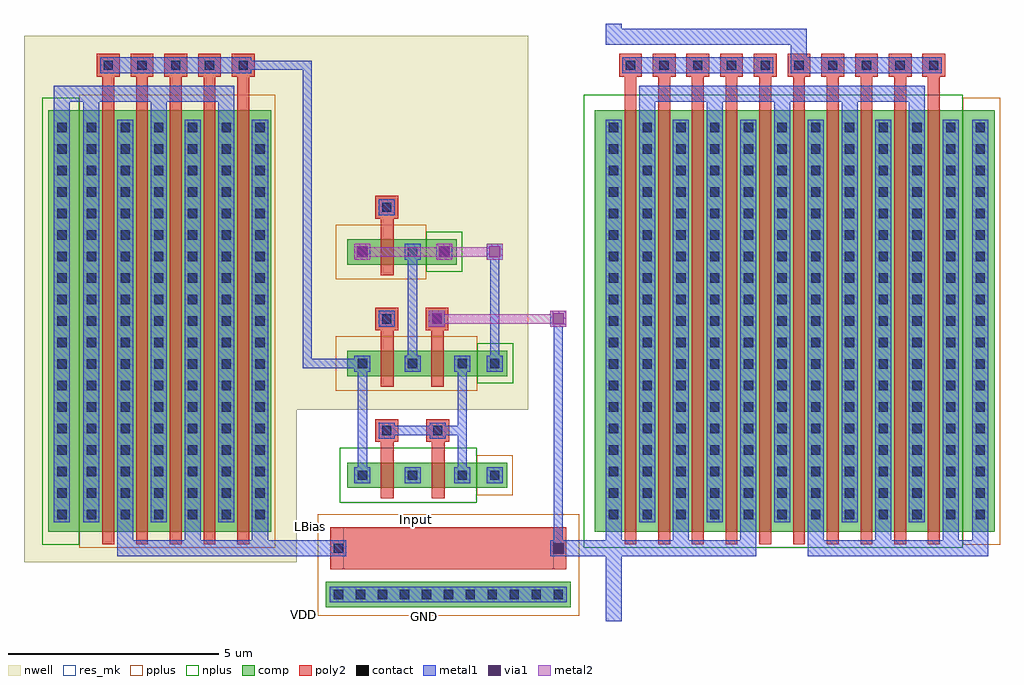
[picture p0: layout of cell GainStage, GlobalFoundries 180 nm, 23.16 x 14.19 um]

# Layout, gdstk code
import gdstk
lib = gdstk.Library(unit=1e-6, precision=1e-09)
def R(c, l, rs):  # rectangles x0, y0, x1, y1
    for r in rs: c.add(gdstk.rectangle(r[:2], r[2:], *l))
def A(c, l, x, y, w, h, nx, ny, dx, dy):  # array of equal rectangles
    R(c, l, [(x+i*dx, y+j*dy, x+i*dx+w, y+j*dy+h) for i in range(nx) for j in range(ny)])
nwell = (21, 0)
comp = (22, 0)
poly2 = (30, 0)
pplus = (31, 0)
nplus = (32, 0)
contact = (33, 0)
metal1 = (34, 0)
via1 = (35, 0)
metal2 = (36, 0)
res_mk = (110, 5)

gainstage = lib.new_cell('GainStage')
R(gainstage, nwell, [(-9.22,1.27,-2.75,13.77), (-2.75,4.89,-2.25,10.39), (-2.25,4.89,2.75,10.39), (-2.75,10.39,2.75,13.77)])
R(gainstage, comp, [(-2.06,0.21,3.76,0.81), (-8.65,2,-3.35,12), (4.32,2,13.82,12), (-1.55,3.04,2.25,3.64), (-1.55,5.69,2.25,6.29), (-1.55,8.34,1.05,8.94)])
A(gainstage, poly2, -7.36, 1.7, 0.28, 11.1, 5, 1, 0.8, 0)
A(gainstage, poly2, 5.03, 1.7, 0.28, 11.1, 10, 1, 0.8, 0)
A(gainstage, poly2, -0.75, 2.79, 0.3, 1.34, 1, 3, 0, 2.65)
A(gainstage, poly2, -0.88, 4.13, 0.54, 0.54, 1, 3, 0, 2.65)
A(gainstage, poly2, -7.49, 12.8, 0.54, 0.54, 5, 1, 0.8, 0)
A(gainstage, poly2, 4.9, 12.8, 0.54, 0.54, 10, 1, 0.8, 0)
R(gainstage, poly2, [(-1.95,1.11,3.65,2.11), (0.46,2.79,0.76,4.13), (0.33,4.13,0.87,4.67), (0.44,5.44,0.74,6.78), (0.31,6.78,0.85,7.32)])
R(gainstage, pplus, [(-2.25,0.01,3.95,2.41), (-7.91,1.625,-3.26,12.375), (13.06,1.69,13.94,12.3), (1.525,2.865,2.38,3.815), (-1.82,5.34,1.53,6.64), (-1.825,7.99,0.325,9.29)])
R(gainstage, nplus, [(4.06,1.625,13.06,12.375), (-8.79,1.69,-7.91,12.3), (-1.725,2.69,1.525,3.99), (1.53,5.52,2.385,6.47), (0.325,8.17,1.18,9.12)])
A(gainstage, contact, -1.87, 0.4, 0.22, 0.22, 11, 1, 0.522, 0)
A(gainstage, contact, -8.43, 2.3, 0.22, 0.22, 1, 19, 0, 0.51)
A(gainstage, contact, -7.73, 2.3, 0.22, 0.22, 6, 19, 0.8, 0.51)
A(gainstage, contact, 4.66, 2.3, 0.22, 0.22, 11, 19, 0.8, 0.51)
A(gainstage, contact, 13.36, 2.3, 0.22, 0.22, 1, 19, 0, 0.51)
A(gainstage, contact, -1.3, 3.23, 0.22, 0.22, 1, 3, 0, 2.65)
A(gainstage, contact, -0.11, 3.23, 0.22, 0.22, 1, 3, 0, 2.65)
A(gainstage, contact, -0.72, 4.29, 0.22, 0.22, 1, 3, 0, 2.65)
A(gainstage, contact, -7.33, 12.96, 0.22, 0.22, 5, 1, 0.8, 0)
A(gainstage, contact, 5.06, 12.96, 0.22, 0.22, 10, 1, 0.8, 0)
R(gainstage, contact, [(-1.87,1.5,-1.65,1.72), (3.35,1.5,3.57,1.72), (1.07,3.23,1.29,3.45), (1.84,3.23,2.06,3.45), (0.49,4.29,0.71,4.51), (1.07,5.88,1.29,6.1), (1.84,5.88,2.06,6.1), (0.47,6.94,0.69,7.16), (0.64,8.53,0.86,8.75)])
A(gainstage, metal1, -7.01, 1.8, 0.38, 0.42, 3, 1, 1.6, 0)
A(gainstage, metal1, 4.58, 1.8, 0.38, 0.42, 6, 1, 1.6, 0)
A(gainstage, metal1, -7.81, 2.22, 0.38, 9.56, 6, 1, 0.8, 0)
A(gainstage, metal1, 4.58, 2.22, 0.38, 9.56, 11, 1, 0.8, 0)
A(gainstage, metal1, -1.38, 3.15, 0.38, 0.38, 1, 3, 0, 2.65)
A(gainstage, metal1, -0.19, 3.15, 0.38, 0.38, 1, 3, 0, 2.65)
A(gainstage, metal1, 1.76, 3.15, 0.38, 0.38, 1, 3, 0, 2.65)
A(gainstage, metal1, -0.8, 4.21, 0.38, 0.38, 1, 3, 0, 2.65)
A(gainstage, metal1, -7.81, 11.78, 0.38, 0.42, 3, 1, 1.6, 0)
A(gainstage, metal1, 5.38, 11.78, 0.38, 0.42, 5, 1, 1.6, 0)
A(gainstage, metal1, -7.41, 12.88, 0.38, 0.38, 5, 1, 0.8, 0)
A(gainstage, metal1, 4.98, 12.88, 0.38, 0.38, 10, 1, 0.8, 0)
R(gainstage, metal1, [(4.58,-0.13,4.96,1.42), (-1.96,0.33,3.66,0.69), (-7.01,1.42,-1.57,1.8), (-1.95,1.42,-1.57,1.8), (3.27,1.42,3.65,1.8), (3.65,1.42,8.16,1.8), (9.38,1.42,13.66,1.8), (3.35,1.5,3.57,7.16), (13.28,1.8,13.66,2.22), (-8.51,2.22,-8.13,11.78), (13.28,2.22,13.66,11.78), (0.99,3.15,1.37,3.53), (-1.3,3.53,-1.08,5.8), (1.07,3.53,1.29,5.8), (0.41,4.21,0.79,4.59), (-0.42,4.29,0.41,4.51), (0.79,4.29,1.29,4.51), (0.99,5.8,1.37,6.18), (-2.61,5.88,-2.39,13.18), (-2.61,5.88,-1.08,6.1), (-0.11,6.18,0.11,8.45), (1.84,6.18,2.06,8.45), (0.39,6.86,0.77,7.24), (3.27,6.86,3.65,7.24), (0.56,8.45,0.94,8.83), (-8.51,11.78,-8.13,12.2), (-8.51,12.2,-4.23,12.58), (5.38,12.2,12.16,12.58), (-7.41,12.88,-3.83,13.26), (4.98,12.88,8.56,13.26), (8.98,12.88,12.56,13.26), (-4.13,12.96,-2.39,13.18), (8.98,13.26,9.36,13.56), (4.58,13.56,4.96,14.06), (4.96,13.56,9.36,13.94)])
R(gainstage, via1, [(3.33,1.48,3.59,1.74), (0.45,6.92,0.71,7.18), (3.33,6.92,3.59,7.18), (-1.32,8.51,-1.06,8.77), (0.62,8.51,0.88,8.77), (1.82,8.51,2.08,8.77)])
R(gainstage, metal2, [(0.39,6.86,0.77,7.24), (3.27,6.86,3.65,7.24), (0.47,6.94,3.57,7.16), (-1.38,8.45,-1,8.83), (0.56,8.45,0.94,8.83), (1.76,8.45,2.14,8.83), (-1.3,8.53,2.06,8.75)])
R(gainstage, res_mk, [(-1.65,1.11,3.35,2.11)])
gainstage.add(gdstk.Label('Output', (-0.404,-1.912), layer=34, texttype=10))
gainstage.add(gdstk.Label('VDD', (-2.598,0.036), layer=34, texttype=10))
gainstage.add(gdstk.Label('Input', (0.092,2.28), layer=34, texttype=10))
gainstage.add(gdstk.Label('CBias', (-0.09,2.28), layer=34, texttype=10))
gainstage.add(gdstk.Label('GND', (0.295,0), layer=34, texttype=10))
gainstage.add(gdstk.Label('LBias', (-2.413,2.134), layer=34, texttype=10))

lib.write_gds('GainStage.gds')
